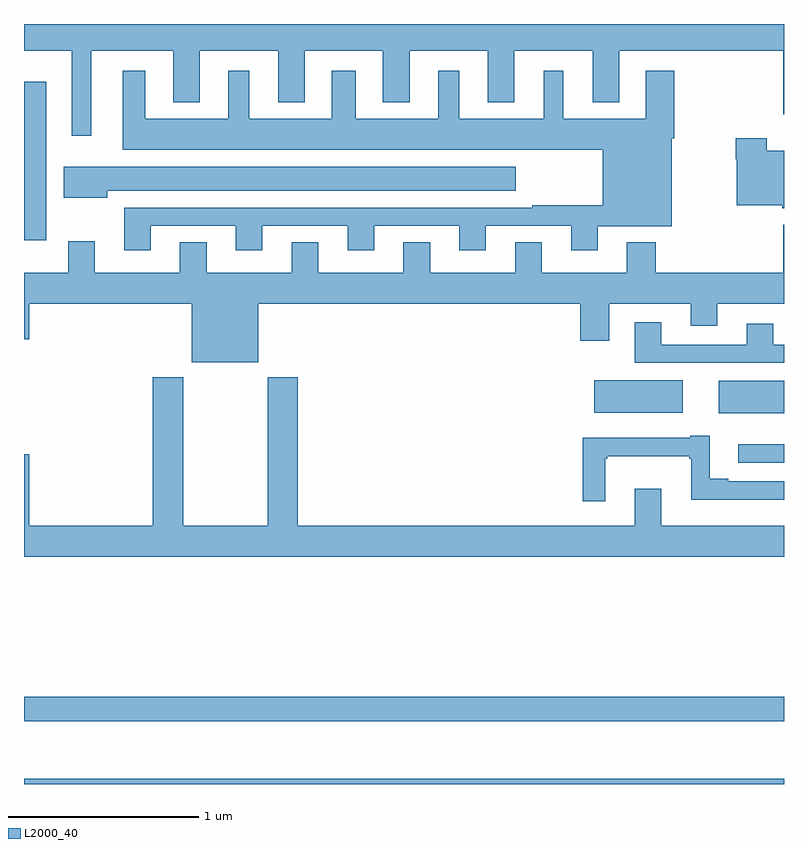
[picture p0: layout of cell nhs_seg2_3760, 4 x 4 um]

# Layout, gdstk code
import gdstk
lib = gdstk.Library(unit=1e-6, precision=1e-09)
def R(c, l, rs):  # rectangles x0, y0, x1, y1
    for r in rs: c.add(gdstk.rectangle(r[:2], r[2:], *l))
def P(c, l, *ps):  # polygons
    for p in ps: c.add(gdstk.Polygon(p, *l))
L2000_40 = (2000, 40)

nhs_seg2_3760 = lib.new_cell('nhs_seg2_3760')
R(nhs_seg2_3760, L2000_40, [(309,619.8,313,619.828), (309,620.13,313,620.258), (312.759,621.492,313,621.589), (312.656,621.752,313,621.922), (312.002,621.755,312.466,621.925), (309,622.662,309.118,623.497)])
P(nhs_seg2_3760, L2000_40, [(309.355,623.66),(309.785,623.66),(309.785,623.387),(309.925,623.387),(309.925,623.66),(310.337,623.66),(310.337,623.387),(310.477,623.387),(310.477,623.66),(310.889,623.66),(310.889,623.387),(311.029,623.387),(311.029,623.66),(311.441,623.66),(311.441,623.387),(311.581,623.387),(311.581,623.66),(311.993,623.66),(311.993,623.387),(312.133,623.387),(312.133,623.66),(312.995,623.66),(312.995,623.326),(313,623.326),(313,623.8),(309,623.8),(309,623.66),(309.251,623.66),(309.251,623.211),(309.355,623.211)],
  [(309.667,622.737),(310.115,622.737),(310.115,622.608),(310.255,622.608),(310.255,622.737),(310.703,622.737),(310.703,622.608),(310.843,622.608),(310.843,622.737),(311.291,622.737),(311.291,622.608),(311.431,622.608),(311.431,622.737),(311.879,622.737),(311.879,622.608),(312.019,622.608),(312.019,622.736),(312.409,622.736),(312.409,623.198),(312.422,623.198),(312.422,623.554),(312.272,623.554),(312.272,623.302),(311.839,623.302),(311.839,623.554),(311.735,623.554),(311.735,623.302),(311.29,623.302),(311.29,623.554),(311.18,623.554),(311.18,623.302),(310.747,623.302),(310.747,623.554),(310.619,623.554),(310.619,623.302),(310.186,623.302),(310.186,623.554),(310.076,623.554),(310.076,623.302),(309.637,623.302),(309.637,623.554),(309.521,623.554),(309.521,623.138),(312.047,623.138),(312.047,622.846),(311.674,622.846),(311.674,622.833),(309.527,622.833),(309.527,622.608),(309.667,622.608)],
  [(313,623.134),(312.91,623.134),(312.91,623.2),(312.745,623.2),(312.745,623.087),(312.752,623.087),(312.752,622.847),(312.99,622.847),(312.99,622.829),(313,622.829)],
  [(309.439,622.922),(311.587,622.922),(311.587,623.05),(309.21,623.05),(309.21,622.886),(309.439,622.886)],
  [(310.234,622.328),(311.927,622.328),(311.927,622.134),(312.079,622.134),(312.079,622.328),(312.509,622.328),(312.509,622.211),(312.649,622.211),(312.649,622.328),(313,622.328),(313,622.744),(312.995,622.744),(312.995,622.492),(312.326,622.492),(312.326,622.651),(312.173,622.651),(312.173,622.492),(311.725,622.492),(311.725,622.652),(311.585,622.652),(311.585,622.492),(311.137,622.492),(311.137,622.652),(310.997,622.652),(310.997,622.492),(310.549,622.492),(310.549,622.652),(310.409,622.652),(310.409,622.492),(309.961,622.492),(309.961,622.652),(309.821,622.652),(309.821,622.492),(309.373,622.492),(309.373,622.657),(309.233,622.657),(309.233,622.492),(309,622.492),(309,622.14),(309.028,622.14),(309.028,622.328),(309.884,622.328),(309.884,622.019),(310.234,622.019)],
  [(313,622.113),(312.943,622.113),(312.943,622.222),(312.803,622.222),(312.803,622.113),(312.355,622.113),(312.355,622.231),(312.215,622.231),(312.215,622.017),(313,622.017)],
  [(313,621.16),(312.355,621.16),(312.355,621.355),(312.215,621.355),(312.215,621.16),(310.442,621.16),(310.442,621.94),(310.282,621.94),(310.282,621.16),(309.837,621.16),(309.837,621.94),(309.677,621.94),(309.677,621.16),(309.028,621.16),(309.028,621.535),(309,621.535),(309,620.996),(313,620.996)],
  [(312.058,621.513),(312.07,621.513),(312.07,621.524),(312.501,621.524),(312.501,621.513),(312.512,621.513),(312.512,621.296),(313,621.296),(313,621.393),(312.706,621.393),(312.706,621.406),(312.61,621.406),(312.61,621.634),(312.506,621.634),(312.506,621.622),(311.941,621.622),(311.941,621.288),(312.058,621.288)])

lib.write_gds('nhs_seg2_3760.gds')
